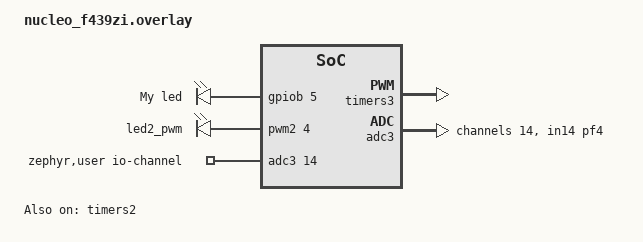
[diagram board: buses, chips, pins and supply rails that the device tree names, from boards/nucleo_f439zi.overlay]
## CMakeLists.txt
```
# SPDX-License-Identifier: Apache-2.0

cmake_minimum_required(VERSION 3.20.0)
find_package(Zephyr REQUIRED HINTS $ENV{ZEPHYR_BASE})
project(secureMqttSensor)

target_include_directories(app PRIVATE src/ethApp
                                       src/adcApp
                                       inc)
zephyr_include_directories(inc)
target_sources(app PRIVATE 
              src/main.c
              src/ethApp/ethApp.c
              src/adcApp/adcApp.c)
```

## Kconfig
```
# Copyright (c) 2024 Analog Devices, Inc.
# SPDX-License-Identifier: Apache-2.0

mainmenu "Secure MQTT Broker for the adafruit io"

config MQTT_CLIENTNAME
	string "Client name for the broker"
	default "zephyrClient"
	help
	  MQTT broker's client name or IP address.

config MQTT_PASSWORD
	string "Password for the mqtt broker"
	default "brokerPass"
	help
	  MQTT broker's password or IP address.

config MQTT_ADAFRUIT_TOPIC
	string "Topic for the mqtt publish"
	default "zephyrUser/feeds/val"
	help
	  MQTT broker's topic or IP address.

config MQTT_BROKER_HOSTNAME
	string "Password for the mqtt broker"
	default "io.adafruit.com"
	help
	  MQTT broker's hostname or IP address.

config MQTT_BROKER_USERNAME
	string "Username for the mqtt broker"
	default "zephyrUser"
	help
	  MQTT broker's hostname or IP address.

source "Kconfig.zephyr"
```

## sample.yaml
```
sample:
  name: Adc Sensor Publish with Secure Mqtt
tests:
  sample.basic.mqttSecAdc:
    extra_args: EXTRA_CONF_FILE="overlay-static-insecure.conf"
    tags:
      - LED
      - gpio
    depends_on: gpio, led, timer, net, mbedtls, adc
    harness: led
    integration_platforms:
      - frdm_k64f
```

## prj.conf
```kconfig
CONFIG_GPIO=y
CONFIG_ADC=y
CONFIG_PWM=y
CONFIG_COUNTER=y
CONFIG_COUNTER_INIT_PRIORITY=50
CONFIG_COUNTER_TIMER_STM32=y
CONFIG_COUNTER_RTC_STM32=n

#mbedtls
# Enable Sockets (used by MQTT lib)
CONFIG_NET_SOCKETS=y
CONFIG_NET_SOCKETS_SOCKOPT_TLS=y

# Enable MQTT
CONFIG_MQTT_LIB=y
CONFIG_MQTT_LIB_TLS=y

# Enable Mbed TLS
CONFIG_MBEDTLS=y
CONFIG_MBEDTLS_SSL_MAX_CONTENT_LEN=4096
CONFIG_MBEDTLS_PEM_PARSE_C=y
CONFIG_MBEDTLS_PEM_WRITE_C=y
CONFIG_MBEDTLS_SSL_SERVER_NAME_INDICATION=n
CONFIG_MBEDTLS_CIPHERSUITE_TLS_ECDHE_RSA_WITH_AES_128_GCM_SHA256=y
CONFIG_MBEDTLS_CIPHERSUITE_TLS_ECDHE_RSA_WITH_AES_256_GCM_SHA384=y

CONFIG_ENTROPY_GENERATOR=y
CONFIG_ENTROPY_STM32_RNG=y
CONFIG_MBEDTLS_ENTROPY_C=y
CONFIG_TEST_RANDOM_GENERATOR=y
CONFIG_MBEDTLS_HAVE_TIME_DATE=y
#networking 
CONFIG_NETWORKING=y
CONFIG_NET_UDP=y
CONFIG_NET_TCP=y
CONFIG_DNS_RESOLVER=y
CONFIG_NET_IPV6=y
CONFIG_NET_IPV4=y
CONFIG_NET_SOCKETS=y
CONFIG_ZVFS_POLL_MAX=5
CONFIG_NET_CONNECTION_MANAGER=y
CONFIG_NET_DHCPV4=y
CONFIG_NET_DHCPV4_OPTION_CALLBACKS=y
CONFIG_TEST_RANDOM_GENERATOR=y
CONFIG_INIT_STACKS=y
CONFIG_NET_MGMT=y
CONFIG_NET_MGMT_EVENT=y
CONFIG_NET_LOG=y
CONFIG_LOG=y
CONFIG_SLIP_STATISTICS=n
CONFIG_NET_SHELL=y
CONFIG_POSIX_API=y

# Kernel options
CONFIG_MAIN_STACK_SIZE=8192
```

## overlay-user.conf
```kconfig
CONFIG_MQTT_CLIENTNAME="zephyrClient"
CONFIG_MQTT_BROKER_USERNAME="zephyrUser"
CONFIG_MQTT_PASSWORD="zephyrPass"
CONFIG_MQTT_ADAFRUIT_TOPIC="zephyrTopic"
CONFIG_MQTT_BROKER_HOSTNAME="zephyrHostname"
```

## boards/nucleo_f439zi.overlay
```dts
/ {
    leds {
        compatible = "gpio-leds";

        my_led: led_0 {
            gpios = <&gpiob 5 GPIO_ACTIVE_HIGH>;
            label = "My led";
        };
    };

    pwmleds: pwmleds {
		compatible = "pwm-leds";
		status = "okay";

		led2_pwm: led2_pwm {
			pwms = <&pwm2 4 PWM_MSEC(20) PWM_POLARITY_NORMAL>;
		};
	};

    aliases {
		  led4 = &my_led;
      pwm-led0 = &led2_pwm;
      timer0 = &counter1;
			adc0 = &adc3;
	  };

		zephyr,user {
			/* adjust channel number according to pinmux in board.dts */
			io-channels = <&adc3 14>;
		};
};

&timers2 {
	status = "okay";
  st,prescaler = <10000>;
	counter1: counter {
		compatible = "st,stm32-counter";
		status = "okay";
		label = "COUNTER_2";
	};
};

&timers3 {
	st,prescaler = <10000>;
	status = "okay";
	pwm2: pwm {
		status = "okay";
		pinctrl-0 = <&tim3_ch4_pc9>;
		pinctrl-names = "default";
	};
};

&adc3 {
    status = "okay";
    pinctrl-0 = <&adc3_in14_pf4>;
    pinctrl-names = "default";
		st,adc-clock-source = "SYNC";
    st,adc-prescaler = <4>;
		#address-cells = <1>;
		#size-cells = <0>;
    channel@e {
        reg = <14>;
        zephyr,gain = "ADC_GAIN_1";
        zephyr,reference = "ADC_REF_INTERNAL";
        zephyr,acquisition-time = <ADC_ACQ_TIME_DEFAULT>;
    };
};
```

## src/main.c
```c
/*
 * Copyright (c) 2016 Intel Corporation
 *
 * SPDX-License-Identifier: Apache-2.0
 */

#include <stdio.h>
#include <string.h>
#include <zephyr/device.h>
#include <zephyr/kernel.h>
#include <zephyr/drivers/gpio.h>
#include <zephyr/drivers/pwm.h>
#include <zephyr/drivers/counter.h>
#include "ethApp/ethApp.h"

/* 1000 msec = 1 sec */
#define SLEEP_TIME_MS   1000

/* The devicetree node identifier for the "led0" alias. */
#define LED0_NODE DT_ALIAS(led0)
#define LED4_NODE  DT_ALIAS(led2)
#define PWM0_NODE DT_ALIAS(pwm_led0)
#define TIMER_NODE DT_ALIAS(timer0)

#define TIMER_NODE_TEST DT_NODELABEL(timers3)

/*
 * A build error on this line means your board is unsupported.
 * See the sample documentation for information on how to fix this.
 */
static const struct gpio_dt_spec led = GPIO_DT_SPEC_GET(LED0_NODE, gpios);
static const struct gpio_dt_spec led2 = GPIO_DT_SPEC_GET(LED4_NODE, gpios);
static const struct pwm_dt_spec pwm0 = PWM_DT_SPEC_GET(PWM0_NODE);
const struct device *const timer_dev = DEVICE_DT_GET(TIMER_NODE);

static volatile uint32_t pwm_counter = 0u;

// ISR Callback
void timer_isr(const struct device *dev, void *user_data) {
	//struct counter_alarm_cfg *config = user_data;

	(void)gpio_pin_toggle_dt(&led2);

	//(void)counter_set_channel_alarm(dev, 0,
					//config);
}


int main(void)
{
	int ret;
	pwm_counter = 0u;
	bool led_state = true;
	if (!device_is_ready(timer_dev)) {
		printk("device not ready.\n");
		return 0;
	}
	if (!gpio_is_ready_dt(&led)) {
		return 0;
	}

	if (!gpio_is_ready_dt(&led2)) {
		return 0;
	}

	if ( !pwm_is_ready_dt(&pwm0)	)	
	{
		return 0;
	}

	ret = gpio_pin_configure_dt(&led, GPIO_OUTPUT_ACTIVE);
	if (ret < 0) {
		return 0;
	}

	ret = gpio_pin_configure_dt(&led2, GPIO_OUTPUT_ACTIVE);
	if (ret < 0) {
		return 0;
	}

	ret = gpio_pin_set_dt(&led, 0);
		if (ret < 0) {
		return 0;
	}

	ret = pwm_set_dt(&pwm0, 100000000, 80000000);
	if (ret < 0) {
		return 0;
	}
	counter_start(timer_dev);
	struct counter_top_cfg alarm = {
    .callback = timer_isr,
    .ticks = counter_us_to_ticks(timer_dev, 250000),
    .flags = COUNTER_TOP_CFG_DONT_RESET,
		.user_data = &alarm
	};

	counter_set_top_value(timer_dev, &alarm);
	eth_dcpInit();


	while (1) {
		ret = gpio_pin_toggle_dt(&led);
		if (ret < 0) {
			return 0;
		}

		if (dchp_ready)
		{
			//tcp_client();
			//(void)tls_connect_test();
			k_msleep(2000);
			ret =app_mqtt_init();
			if (ret < 0) {
				return 0;
			}
			dchp_ready = false;
		}

		led_state = !led_state;
		printf("LED state: %s\n", led_state ? "ON" : "OFF");
		k_msleep(SLEEP_TIME_MS);
	}
	return 0;
}
```
